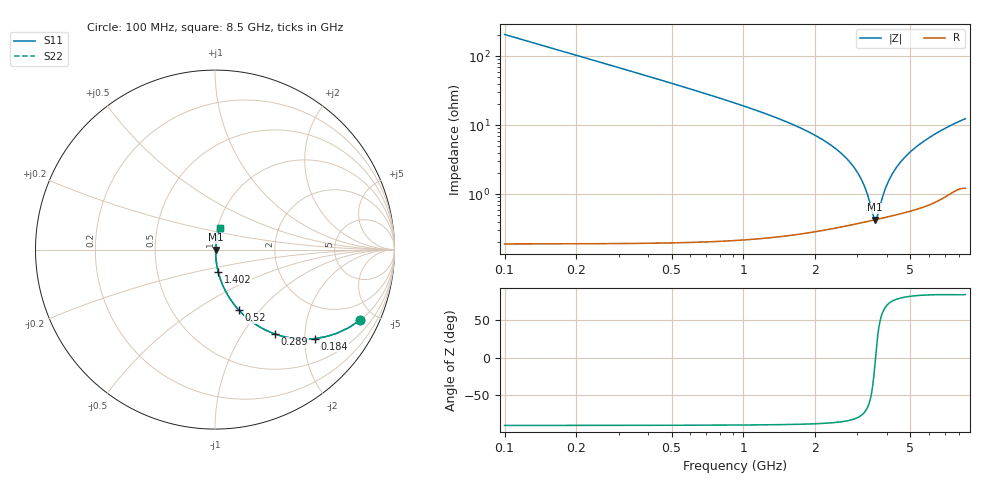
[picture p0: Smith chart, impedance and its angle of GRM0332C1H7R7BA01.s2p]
!Murata Part Number: GRM0332C1H7R7BA01
!These Parameters are Measured in Series Mode Connection
!Data Generated on Mar 30, 2021
!  o--ll--o
!Port1  Port2
!  o------o
!Operation Temp=25[degC], DC Bias Voltage=0[V]
!Freq. Start=100[MHz] Stop=9[GHz] 401[Steps]
# Hz S RI R 50
!Freq.(Hz) S11(Real) S11(Imag) S21(Real) S21(Imag) S12(Real) S12(Imag) S22(Real) S22(Imag)
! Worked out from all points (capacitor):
!   401 points, 100 MHz to 8.5 GHz, reference 50 ohm
!   read as one part in series: C = 7.7 pF near 142 MHz
!   lowest |Z| = 427 mohm at 3.565 GHz (marker M1)
!   series resonance near 3.574 GHz, so ESL is about 260 pH
!   S11 on the Smith chart (normalised r, x): 100 MHz: 1.00, -4.13; 184 MHz: 1.00, -2.24; 289 MHz: 1.00, -1.42; 520 MHz: 1.00, -0.78; 1.402 GHz: 1.00, -0.25; 8.5 GHz: 1.02, +0.25
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1e8  0.8099 -0.3919  0.1901 0.3919  0.1901 0.3919  0.8099 -0.3919
1.84e8  0.5565 -0.4959  0.4435 0.4959  0.4435 0.4959  0.5565 -0.4959
2.89e8  0.3359 -0.471  0.6641 0.471  0.6641 0.471  0.3359 -0.471
3.94e8  0.2126 -0.4073  0.7874 0.4073  0.7874 0.4073  0.2126 -0.4073
5.2e8  0.1327 -0.3367  0.8673 0.3367  0.8673 0.3367  0.1327 -0.3367
8.77e8  0.0486 -0.2103  0.9514 0.2103  0.9514 0.2103  0.0486 -0.2103
1.402e9  0.0176 -0.1222  0.9824 0.1222  0.9824 0.1222  0.0176 -0.1222
1.507e9  0.0149 -0.1108  0.9851 0.1108  0.9851 0.1108  0.0149 -0.1108
2.41e9  0.00537 -0.0464  0.9946 0.0464  0.9946 0.0464  0.00537 -0.0464
2.914e9  0.00421 -0.0237  0.9958 0.0237  0.9958 0.0237  0.00421 -0.0237
3.208e9  0.00407 -0.0125  0.9959 0.0125  0.9959 0.0125  0.00407 -0.0125
3.334e9  0.0041 -0.00803  0.9959 0.00803  0.9959 0.00803  0.0041 -0.00803
3.502e9  0.00419 -0.00234  0.9958 0.00234  0.9958 0.00234  0.00419 -0.00234
3.565e9  0.00425 -0.000282  0.9958 0.000282  0.9958 0.000282  0.00425 -0.000282
3.628e9  0.00431 0.00174  0.9957 -0.00174  0.9957 -0.00174  0.00431 0.00174
3.817e9  0.00454 0.00764  0.9955 -0.00764  0.9955 -0.00764  0.00454 0.00764
3.964e9  0.00476 0.012  0.9952 -0.012  0.9952 -0.012  0.00476 0.012
4.3e9  0.00541 0.0217  0.9946 -0.0217  0.9946 -0.0217  0.00541 0.0217
4.888e9  0.00693 0.0373  0.9931 -0.0373  0.9931 -0.0373  0.00693 0.0373
5.707e9  0.00986 0.0576  0.9901 -0.0576  0.9901 -0.0576  0.00986 0.0576
7.114e9  0.0176 0.0902  0.9824 -0.0902  0.9824 -0.0902  0.0176 0.0902
8.5e9  0.0267 0.1192  0.9733 -0.1192  0.9733 -0.1192  0.0267 0.1192
